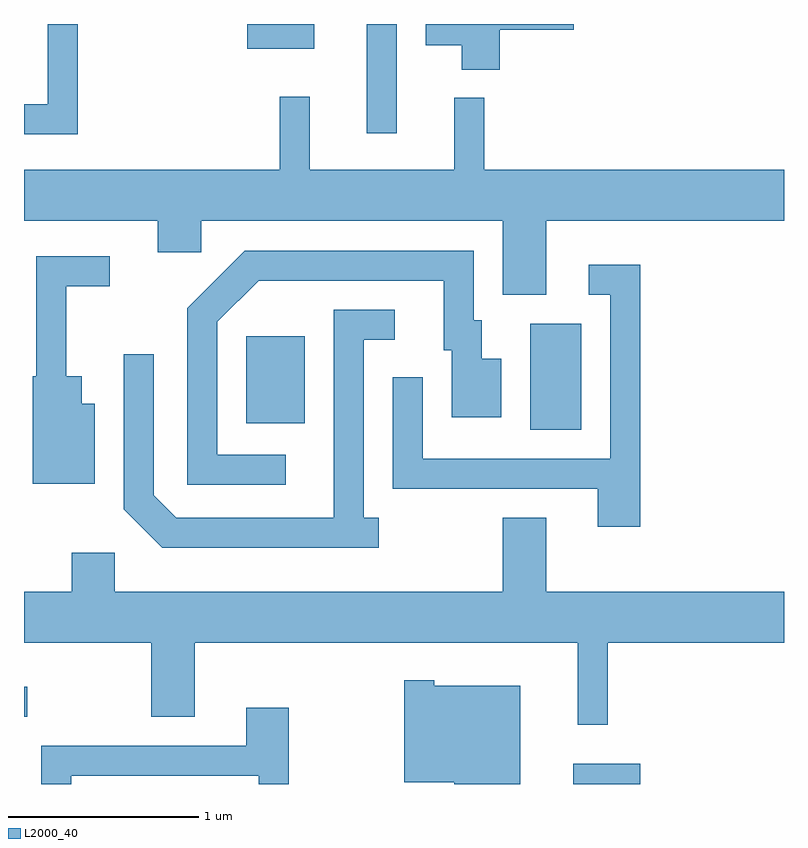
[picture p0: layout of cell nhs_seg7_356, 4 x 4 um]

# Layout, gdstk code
import gdstk
lib = gdstk.Library(unit=1e-6, precision=1e-09)
def R(c, l, rs):  # rectangles x0, y0, x1, y1
    for r in rs: c.add(gdstk.rectangle(r[:2], r[2:], *l))
def P(c, l, *ps):  # polygons
    for p in ps: c.add(gdstk.Polygon(p, *l))
L2000_40 = (2000, 40)

nhs_seg7_356 = lib.new_cell('nhs_seg7_356')
R(nhs_seg7_356, L2000_40, [(198.501,1700.252,198.854,1700.359), (195.611,1700.606,195.628,1700.764), (198.276,1702.116,198.544,1702.674), (196.781,1702.151,197.089,1702.609), (197.416,1703.678,197.574,1704.252), (196.786,1704.121,197.139,1704.252)])
P(nhs_seg7_356, L2000_40, [(195.894,1704.252),(195.736,1704.252),(195.736,1703.829),(195.611,1703.829),(195.611,1703.671),(195.894,1703.671)],
  [(198.114,1704.221),(198.504,1704.221),(198.504,1704.252),(197.726,1704.252),(197.726,1704.141),(197.916,1704.141),(197.916,1704.011),(198.114,1704.011)],
  [(198.359,1703.216),(199.611,1703.216),(199.611,1703.484),(198.034,1703.484),(198.034,1703.863),(197.876,1703.863),(197.876,1703.484),(197.114,1703.484),(197.114,1703.868),(196.956,1703.868),(196.956,1703.484),(195.611,1703.484),(195.611,1703.216),(196.316,1703.216),(196.316,1703.051),(196.544,1703.051),(196.544,1703.216),(198.131,1703.216),(198.131,1702.826),(198.359,1702.826)],
  [(196.988,1701.984),(196.629,1701.984),(196.629,1702.684),(196.847,1702.901),(197.821,1702.901),(197.821,1702.536),(197.861,1702.536),(197.861,1702.181),(198.124,1702.181),(198.124,1702.489),(198.019,1702.489),(198.019,1702.694),(197.979,1702.694),(197.979,1703.059),(196.774,1703.059),(196.471,1702.757),(196.471,1701.826),(196.988,1701.826)],
  [(195.984,1702.254),(195.914,1702.254),(195.914,1702.399),(195.834,1702.399),(195.834,1702.871),(196.063,1702.871),(196.063,1703.029),(195.676,1703.029),(195.676,1702.399),(195.656,1702.399),(195.656,1701.831),(195.984,1701.831)],
  [(198.854,1702.984),(198.583,1702.984),(198.583,1702.826),(198.696,1702.826),(198.696,1701.964),(197.709,1701.964),(197.709,1702.393),(197.551,1702.393),(197.551,1701.806),(198.631,1701.806),(198.631,1701.606),(198.854,1701.606)],
  [(197.478,1701.654),(197.399,1701.654),(197.399,1702.591),(197.563,1702.591),(197.563,1702.749),(197.241,1702.749),(197.241,1701.654),(196.412,1701.654),(196.294,1701.772),(196.294,1702.513),(196.136,1702.513),(196.136,1701.699),(196.339,1701.496),(197.478,1701.496)],
  [(198.684,1700.996),(199.611,1700.996),(199.611,1701.264),(198.359,1701.264),(198.359,1701.654),(198.131,1701.654),(198.131,1701.264),(196.089,1701.264),(196.089,1701.469),(195.861,1701.469),(195.861,1701.264),(195.611,1701.264),(195.611,1700.996),(196.281,1700.996),(196.281,1700.606),(196.509,1700.606),(196.509,1700.996),(198.526,1700.996),(198.526,1700.563),(198.684,1700.563)],
  [(198.224,1700.769),(197.769,1700.769),(197.769,1700.799),(197.611,1700.799),(197.611,1700.261),(197.876,1700.261),(197.876,1700.252),(198.224,1700.252)],
  [(195.859,1700.296),(196.846,1700.296),(196.846,1700.252),(197.004,1700.252),(197.004,1700.654),(196.781,1700.654),(196.781,1700.454),(195.701,1700.454),(195.701,1700.252),(195.859,1700.252)])

lib.write_gds('nhs_seg7_356.gds')
